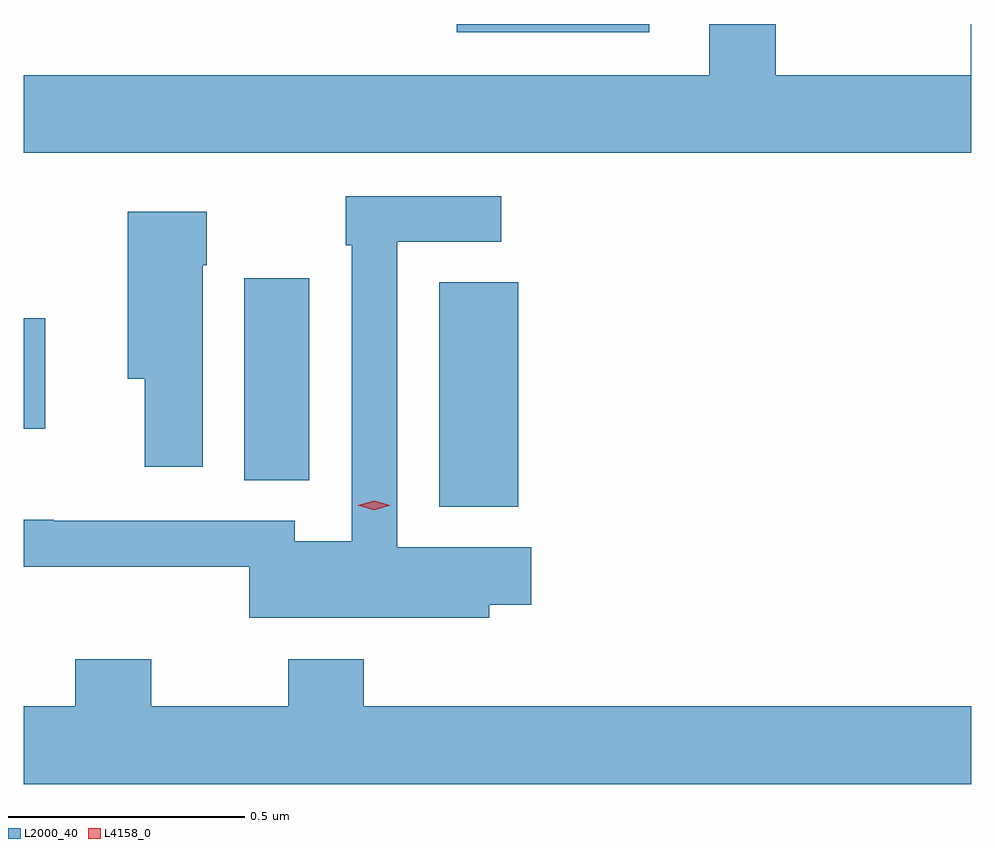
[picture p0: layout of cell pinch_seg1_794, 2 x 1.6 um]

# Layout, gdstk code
import gdstk
lib = gdstk.Library(unit=1e-6, precision=1e-09)
def R(c, l, rs):  # rectangles x0, y0, x1, y1
    for r in rs: c.add(gdstk.rectangle(r[:2], r[2:], *l))
def P(c, l, *ps):  # polygons
    for p in ps: c.add(gdstk.Polygon(p, *l))
L2000_40 = (2000, 40)
L4158_0 = (4158, 0)

pinch_seg1_794 = lib.new_cell('pinch_seg1_794')
R(pinch_seg1_794, L2000_40, [(502.313,550.985,502.48,551.459), (501.902,551.041,502.039,551.467), (501.436,551.15,501.481,551.383), (502.35,551.987,502.756,552.004)])
P(pinch_seg1_794, L2000_40, [(503.436,552.004),(503.435,552.004),(503.435,551.896),(503.023,551.896),(503.023,552.004),(502.883,552.004),(502.883,551.896),(501.436,551.896),(501.436,551.732),(503.436,551.732)],
  [(502.419,550.778),(502.507,550.778),(502.507,550.9),(502.224,550.9),(502.224,551.544),(502.444,551.544),(502.444,551.64),(502.116,551.64),(502.116,551.537),(502.128,551.537),(502.128,550.912),(502.008,550.912),(502.008,550.956),(501.499,550.956),(501.499,550.958),(501.436,550.958),(501.436,550.859),(501.912,550.859),(501.912,550.751),(502.419,550.751)],
  [(501.814,551.495),(501.822,551.495),(501.822,551.608),(501.656,551.608),(501.656,551.255),(501.692,551.255),(501.692,551.07),(501.814,551.07)],
  [(503.436,550.564),(502.154,550.564),(502.154,550.663),(501.994,550.663),(501.994,550.564),(501.705,550.564),(501.705,550.663),(501.545,550.663),(501.545,550.564),(501.436,550.564),(501.436,550.4),(503.436,550.4)])
P(pinch_seg1_794, L4158_0, [(502.176,550.978),(502.141,550.988),(502.141,550.988),(502.141,550.988),(502.176,550.998),(502.21,550.988),(502.211,550.988),(502.21,550.988)])

lib.write_gds('pinch_seg1_794.gds')
